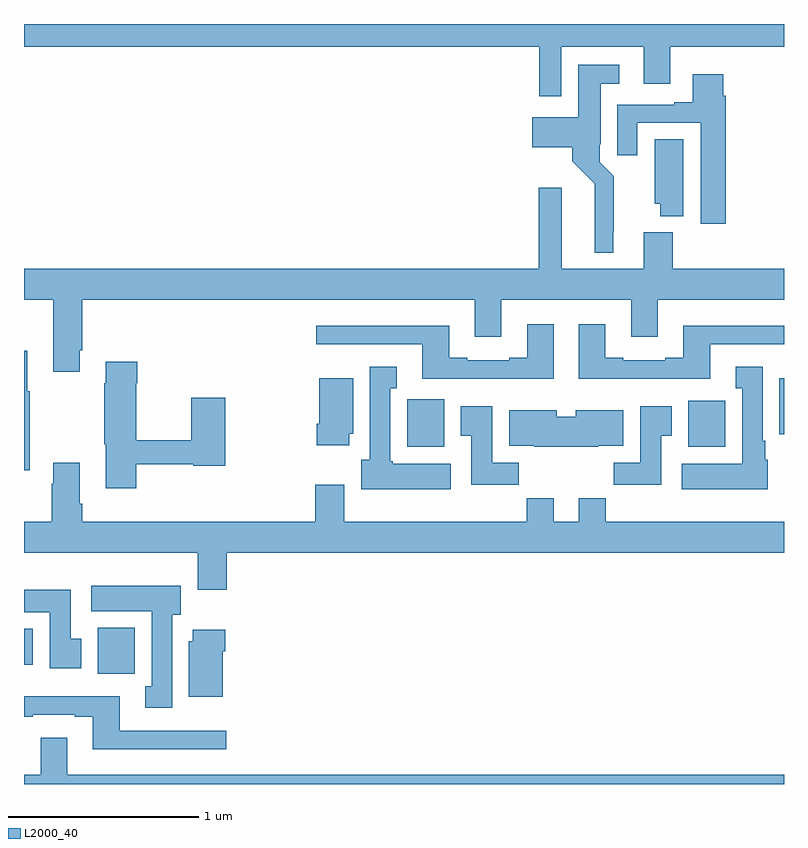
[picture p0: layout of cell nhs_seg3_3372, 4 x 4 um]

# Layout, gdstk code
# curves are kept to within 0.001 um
import gdstk
lib = gdstk.Library(unit=1e-6, precision=1e-09)
def R(c, l, rs):  # rectangles x0, y0, x1, y1
    for r in rs: c.add(gdstk.rectangle(r[:2], r[2:], *l))
def P(c, l, *ps):  # polygons
    for p in ps: c.add(gdstk.Polygon(p, *l))
L2000_40 = (2000, 40)

nhs_seg3_3372 = lib.new_cell('nhs_seg3_3372')
R(nhs_seg3_3372, L2000_40, [(287.387,666.98,287.584,667.222), (287,667.028,287.047,667.216), (289.017,668.174,289.213,668.424), (290.495,668.174,290.692,668.416), (290.975,668.24,291,668.536)])
P(nhs_seg3_3372, L2000_40, [(289.827,670.28),(290.261,670.28),(290.261,670.086),(290.401,670.086),(290.401,670.28),(291,670.28),(291,670.4),(287,670.4),(287,670.28),(289.711,670.28),(289.711,670.02),(289.827,670.02)],
  [(290.101,669.307),(290.105,669.307),(290.105,669.598),(290.031,669.672),(290.031,669.766),(290.035,669.766),(290.035,670.085),(290.134,670.085),(290.134,670.186),(289.916,670.186),(289.916,669.91),(289.674,669.91),(289.674,669.752),(289.886,669.752),(289.886,669.678),(290.004,669.56),(290.003,669.197),(290.101,669.197)],
  [(290.693,670.022),(290.68,670.022),(290.68,670.135),(290.519,670.135),(290.519,669.988),(290.423,669.988),(290.423,669.975),(290.123,669.975),(290.123,669.708),(290.227,669.708),(290.227,669.879),(290.561,669.879),(290.561,669.348),(290.693,669.348)],
  [(290.47,669.794),(290.321,669.794),(290.321,669.453),(290.348,669.453),(290.348,669.389),(290.47,669.389)],
  [(287.293,668.683),(287.306,668.683),(287.306,668.948),(289.373,668.948),(289.373,668.754),(289.513,668.754),(289.513,668.948),(290.195,668.948),(290.195,668.754),(290.335,668.754),(290.335,668.948),(291,668.948),(291,669.112),(290.414,669.112),(290.414,669.304),(290.261,669.304),(290.261,669.112),(289.831,669.112),(289.831,669.538),(289.709,669.538),(289.709,669.112),(287,669.112),(287,668.948),(287.153,668.948),(287.153,668.571),(287.293,668.571)],
  [(289.789,668.821),(289.649,668.821),(289.649,668.644),(289.553,668.644),(289.553,668.631),(289.333,668.631),(289.333,668.644),(289.237,668.644),(289.237,668.812),(288.537,668.812),(288.537,668.715),(289.097,668.715),(289.097,668.534),(289.789,668.534)],
  [(290.611,668.715),(291,668.715),(291,668.812),(290.471,668.812),(290.471,668.644),(290.375,668.644),(290.375,668.631),(290.155,668.631),(290.155,668.644),(290.059,668.644),(290.059,668.821),(289.919,668.821),(289.919,668.534),(290.611,668.534)],
  [(287.029,668.467),(287.017,668.467),(287.017,668.68),(287,668.68),(287,668.051),(287.029,668.051)],
  [(287.592,668.082),(287.892,668.082),(287.892,668.074),(288.059,668.074),(288.059,668.434),(287.881,668.434),(287.881,668.21),(287.592,668.21),(287.592,668.51),(287.597,668.51),(287.597,668.623),(287.429,668.623),(287.429,668.51),(287.422,668.51),(287.422,668.187),(287.429,668.187),(287.429,667.956),(287.592,667.956)],
  [(290.914,668.106),(290.902,668.106),(290.902,668.206),(290.887,668.206),(290.887,668.596),(290.747,668.596),(290.747,668.483),(290.78,668.483),(290.78,668.086),(290.463,668.086),(290.463,667.952),(290.914,667.952)],
  [(289.246,668.086),(288.942,668.086),(288.942,668.1),(288.928,668.1),(288.928,668.483),(288.961,668.483),(288.961,668.596),(288.821,668.596),(288.821,668.106),(288.776,668.106),(288.776,667.952),(289.246,667.952)],
  [(288.712,668.244),(288.733,668.244),(288.733,668.536),(288.554,668.536),(288.554,668.296),(288.542,668.296),(288.542,668.184),(288.712,668.184)],
  [(289.604,668.092),(289.465,668.092),(289.465,668.389),(289.298,668.389),(289.298,668.233),(289.355,668.233),(289.355,667.974),(289.604,667.974)],
  [(290.353,668.233),(290.41,668.233),(290.41,668.389),(290.243,668.389),(290.243,668.092),(290.104,668.092),(290.104,667.974),(290.353,667.974)],
  [(290.022,668.18),(290.155,668.18),(290.155,668.368),(289.904,668.368),(289.904,668.332),(289.804,668.332),(289.804,668.368),(289.553,668.368),(289.553,668.18),(289.686,668.18),(289.686,668.174),(290.022,668.174)],
  [(288.068,667.616),(291,667.616),(291,667.78),(290.063,667.78),(290.063,667.904),(289.919,667.904),(289.919,667.78),(289.789,667.78),(289.789,667.904),(289.645,667.904),(289.645,667.78),(288.685,667.78),(288.685,667.975),(288.533,667.975),(288.533,667.78),(287.306,667.78),(287.306,667.876),(287.293,667.876),(287.293,668.092),(287.153,668.092),(287.153,667.979),(287.146,667.979),(287.146,667.78),(287,667.78),(287,667.616),(287.915,667.616),(287.915,667.422),(288.068,667.422)],
  [(287.779,667.29),(287.824,667.29),(287.824,667.444),(287.355,667.444),(287.355,667.31),(287.672,667.31),(287.672,666.914),(287.639,666.914),(287.639,666.801),(287.779,666.801)],
  [(287.302,667.164),(287.245,667.164),(287.245,667.423),(287,667.423),(287,667.304),(287.135,667.304),(287.135,667.008),(287.302,667.008)],
  [(288.046,667.1),(288.059,667.1),(288.059,667.213),(287.888,667.213),(287.888,667.152),(287.867,667.152),(287.867,666.86),(288.046,666.86)],
  [(288.064,666.681),(287.503,666.681),(287.503,666.862),(287,666.862),(287,666.753),(287.047,666.753),(287.047,666.765),(287.267,666.765),(287.267,666.753),(287.363,666.753),(287.363,666.584),(288.064,666.584)],
  [(291,666.448),(287.227,666.448),(287.227,666.643),(287.087,666.643),(287.087,666.448),(287,666.448),(287,666.4),(291,666.4)])

lib.write_gds('nhs_seg3_3372.gds')
